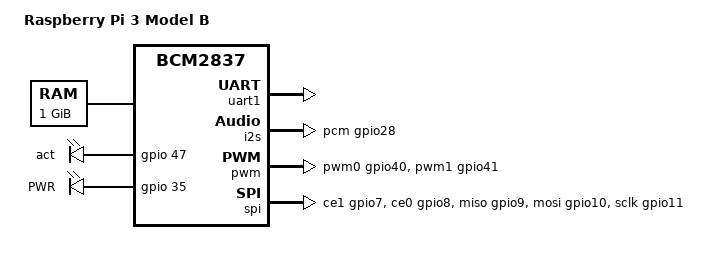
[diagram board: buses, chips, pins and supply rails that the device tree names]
/dts-v1/;
#include "bcm2837.dtsi"
#include "../../../../arm/boot/dts/bcm2835-rpi.dtsi"
#include "../../../../arm/boot/dts/bcm283x-rpi-smsc9514.dtsi"

/ {
	compatible = "raspberrypi,3-model-b", "brcm,bcm2837";
	model = "Raspberry Pi 3 Model B";

	memory {
		reg = <0 0x40000000>;
	};

	leds {
		act {
			gpios = <&gpio 47 0>;
		};

		pwr {
			label = "PWR";
			gpios = <&gpio 35 0>;
			default-state = "keep";
			linux,default-trigger = "default-on";
		};
	};
};

&gpio {
	pinctrl-0 = <&gpioout>,
		    <&i2c0_sda_gpio0>,
		    <&i2c0_scl_gpio1>,
		    <&i2c1_sda_gpio2>,
		    <&i2c1_scl_gpio3>;
};

&uart1 {
	status = "okay";
};

&i2s {
	pinctrl-names = "default";
	pinctrl-0 = <&pcm_gpio28>;
};

&pwm {
	pinctrl-names = "default";
	pinctrl-0 = <&pwm0_gpio40>, <&pwm1_gpio41>;
};

&spi {
	pinctrl-names = "default";
	pinctrl-0 = <&spi0_ce1_gpio7>,
		    <&spi0_ce0_gpio8>,
		    <&spi0_miso_gpio9>,
		    <&spi0_mosi_gpio10>,
		    <&spi0_sclk_gpio11>;
};
